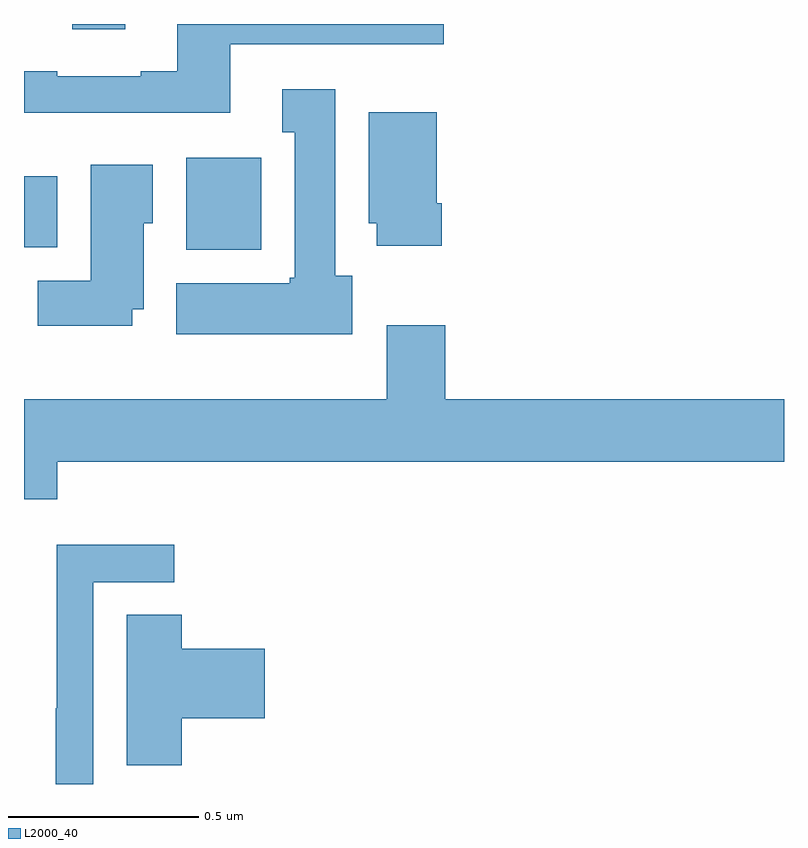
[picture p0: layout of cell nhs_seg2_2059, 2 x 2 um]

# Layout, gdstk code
import gdstk
lib = gdstk.Library(unit=1e-6, precision=1e-09)
def R(c, l, rs):  # rectangles x0, y0, x1, y1
    for r in rs: c.add(gdstk.rectangle(r[:2], r[2:], *l))
def P(c, l, *ps):  # polygons
    for p in ps: c.add(gdstk.Polygon(p, *l))
L2000_40 = (2000, 40)

nhs_seg2_2059 = lib.new_cell('nhs_seg2_2059')
R(nhs_seg2_2059, L2000_40, [(136.427,636.206,136.624,636.448), (136,636.212,136.087,636.4), (136.127,636.786,136.267,636.8)])
P(nhs_seg2_2059, L2000_40, [(136.543,636.747),(137.104,636.747),(137.104,636.8),(136.403,636.8),(136.403,636.676),(136.307,636.676),(136.307,636.663),(136.087,636.663),(136.087,636.676),(136,636.676),(136,636.566),(136.543,636.566)],
  [(136.864,636.138),(136.819,636.138),(136.819,636.628),(136.679,636.628),(136.679,636.515),(136.712,636.515),(136.712,636.132),(136.699,636.132),(136.699,636.118),(136.4,636.118),(136.4,635.984),(136.864,635.984)],
  [(137.099,636.328),(137.086,636.328),(137.086,636.568),(136.907,636.568),(136.907,636.276),(136.928,636.276),(136.928,636.216),(137.099,636.216)],
  [(136.285,636.05),(136.315,636.05),(136.315,636.276),(136.339,636.276),(136.339,636.43),(136.175,636.43),(136.175,636.124),(136.036,636.124),(136.036,636.006),(136.285,636.006)],
  [(136.088,635.648),(138,635.648),(138,635.812),(137.108,635.812),(137.108,636.007),(136.955,636.007),(136.955,635.812),(136,635.812),(136,635.549),(136.088,635.549)],
  [(136.182,635.331),(136.396,635.331),(136.396,635.43),(136.086,635.43),(136.086,635),(136.084,635),(136.084,634.8),(136.182,634.8)],
  [(136.415,634.973),(136.633,634.973),(136.633,635.156),(136.415,635.156),(136.415,635.246),(136.271,635.246),(136.271,634.849),(136.415,634.849)])

lib.write_gds('nhs_seg2_2059.gds')
